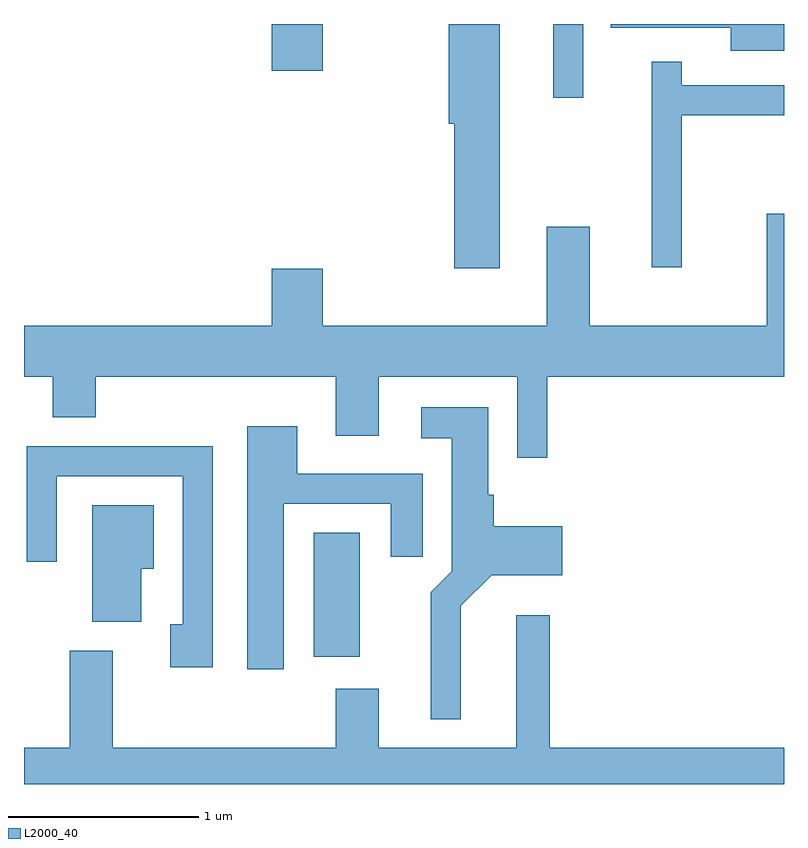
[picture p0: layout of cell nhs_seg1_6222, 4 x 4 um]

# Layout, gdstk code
import gdstk
lib = gdstk.Library(unit=1e-6, precision=1e-09)
def R(c, l, rs):  # rectangles x0, y0, x1, y1
    for r in rs: c.add(gdstk.rectangle(r[:2], r[2:], *l))
def P(c, l, *ps):  # polygons
    for p in ps: c.add(gdstk.Polygon(p, *l))
L2000_40 = (2000, 40)

nhs_seg1_6222 = lib.new_cell('nhs_seg1_6222')
R(nhs_seg1_6222, L2000_40, [(375.136,840.381,375.379,841.034), (376.396,843.323,376.554,843.712), (374.916,843.466,375.184,843.712)])
P(nhs_seg1_6222, L2000_40, [(377.611,843.712),(376.698,843.712),(376.698,843.691),(377.331,843.691),(377.331,843.571),(377.611,843.571)],
  [(376.114,843.712),(375.846,843.712),(375.846,843.186),(375.876,843.186),(375.876,842.426),(376.114,842.426)],
  [(377.074,843.231),(377.611,843.231),(377.611,843.389),(377.074,843.389),(377.074,843.513),(376.916,843.513),(376.916,842.433),(377.074,842.433)],
  [(376.364,841.856),(377.611,841.856),(377.611,842.714),(377.521,842.714),(377.521,842.124),(376.589,842.124),(376.589,842.644),(376.361,842.644),(376.361,842.124),(375.184,842.124),(375.184,842.424),(374.916,842.424),(374.916,842.124),(373.611,842.124),(373.611,841.856),(373.761,841.856),(373.761,841.641),(373.989,841.641),(373.989,841.856),(375.251,841.856),(375.251,841.546),(375.479,841.546),(375.479,841.856),(376.206,841.856),(376.206,841.428),(376.364,841.428)],
  [(375.909,840.649),(376.072,840.811),(376.444,840.811),(376.444,841.069),(376.084,841.069),(376.084,841.234),(376.054,841.234),(376.054,841.694),(375.703,841.694),(375.703,841.531),(375.861,841.531),(375.861,840.832),(375.751,840.722),(375.751,840.053),(375.909,840.053)],
  [(374.979,841.186),(375.541,841.186),(375.541,840.908),(375.709,840.908),(375.709,841.344),(375.049,841.344),(375.049,841.594),(374.786,841.594),(374.786,840.316),(374.979,840.316)],
  [(374.604,841.489),(373.626,841.489),(373.626,840.883),(373.784,840.883),(373.784,841.331),(374.446,841.331),(374.446,840.554),(374.381,840.554),(374.381,840.326),(374.604,840.326)],
  [(374.229,840.846),(374.294,840.846),(374.294,841.179),(373.971,841.179),(373.971,840.566),(374.229,840.566)],
  [(377.611,839.904),(376.379,839.904),(376.379,840.599),(376.201,840.599),(376.201,839.904),(375.479,839.904),(375.479,840.214),(375.251,840.214),(375.251,839.904),(374.079,839.904),(374.079,840.414),(373.851,840.414),(373.851,839.904),(373.611,839.904),(373.611,839.712),(377.611,839.712)])

lib.write_gds('nhs_seg1_6222.gds')
